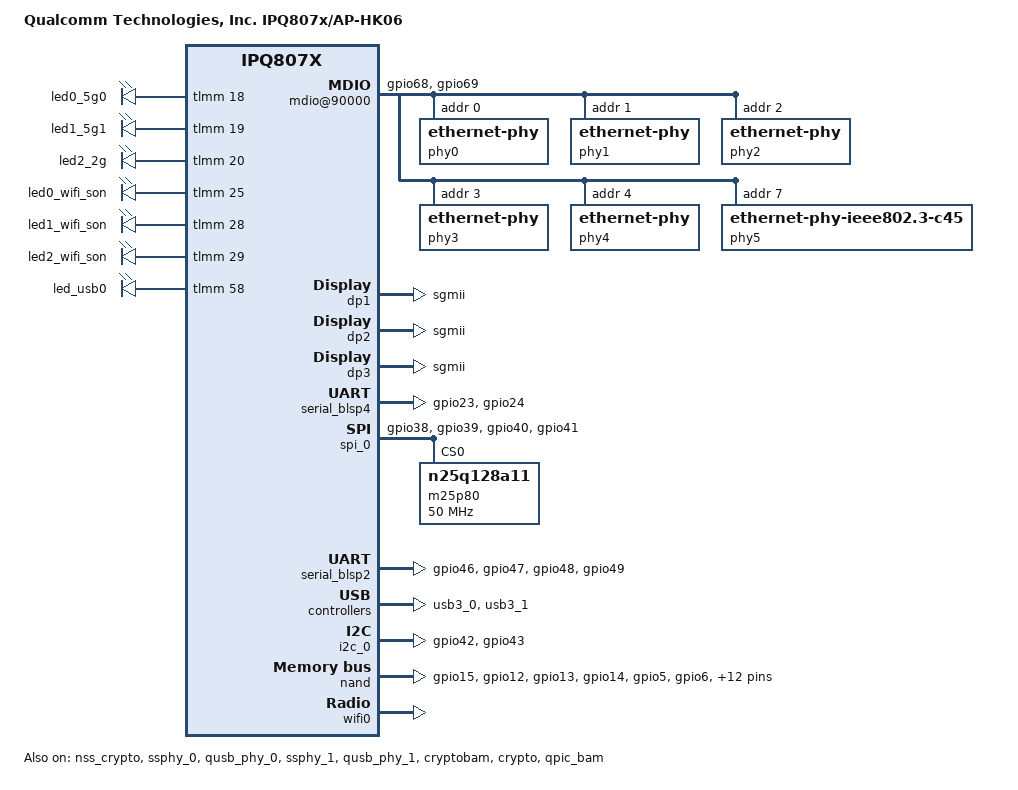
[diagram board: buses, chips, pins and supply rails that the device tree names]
/dts-v1/;
/*
 * Copyright (c) 2017, The Linux Foundation. All rights reserved.
 *
 * Permission to use, copy, modify, and/or distribute this software for any
 * purpose with or without fee is hereby granted, provided that the above
 * copyright notice and this permission notice appear in all copies.
 *
 * THE SOFTWARE IS PROVIDED "AS IS" AND THE AUTHOR DISCLAIMS ALL WARRANTIES
 * WITH REGARD TO THIS SOFTWARE INCLUDING ALL IMPLIED WARRANTIES OF
 * MERCHANTABILITY AND FITNESS. IN NO EVENT SHALL THE AUTHOR BE LIABLE FOR
 * ANY SPECIAL, DIRECT, INDIRECT, OR CONSEQUENTIAL DAMAGES OR ANY DAMAGES
 * WHATSOEVER RESULTING FROM LOSS OF USE, DATA OR PROFITS, WHETHER IN AN
 * ACTION OF CONTRACT, NEGLIGENCE OR OTHER TORTIOUS ACTION, ARISING OUT OF
 * OR IN CONNECTION WITH THE USE OR PERFORMANCE OF THIS SOFTWARE.
 */
#include "qcom-ipq807x-soc.dtsi"
#include "qcom-ipq807x-hk-cpu.dtsi"

/ {
	#address-cells = <0x2>;
	#size-cells = <0x2>;
	model = "Qualcomm Technologies, Inc. IPQ807x/AP-HK06";
	compatible = "qcom,ipq807x-hk06", "qcom,ipq807x";
	qcom,msm-id = <0x125 0x0>;
	interrupt-parent = <&intc>;
	qcom,board-id = <0x10 0x0>;

	aliases {
		/*
		 * Aliases as required by u-boot
		 * to patch MAC addresses
		 */
		ethernet0 = "/soc/dp1";
		ethernet1 = "/soc/dp2";
		ethernet2 = "/soc/dp3";
	};
	chosen {
		bootargs = "console=ttyMSM0,115200,n8 root=/dev/ram0 rw init=/init";
		bootargs-append = " swiotlb=1";
	};
};

&tlmm {
	mdio_pins: mdio_pinmux {
		mux_0 {
			pins = "gpio68";
			function = "mdc";
			drive-strength = <8>;
			bias-pull-up;
		};
		mux_1 {
			pins = "gpio69";
			function = "mdio";
			drive-strength = <8>;
			bias-pull-up;
		};
	};

	uart_pins: uart_pins {
		mux {
			pins = "gpio23", "gpio24";
			function = "blsp4_uart1";
			drive-strength = <8>;
			bias-disable;
		};
	};

	i2c_0_pins: i2c_0_pinmux {
		mux {
			pins = "gpio42", "gpio43";
			function = "blsp1_i2c";
			drive-strength = <8>;
			bias-disable;
		};
	};

	spi_0_pins: spi_0_pins {
		mux {
			pins = "gpio38", "gpio39", "gpio40", "gpio41";
			function = "blsp0_spi";
			drive-strength = <8>;
			bias-disable;
		};
	};

	qpic_pins: qpic_pins {
		data_0 {
			pins = "gpio15";
			function = "qpic_pad0";
			drive-strength = <8>;
			bias-disable;
		};
		data_1 {
			pins = "gpio12";
			function = "qpic_pad1";
			drive-strength = <8>;
			bias-disable;
		};
		data_2 {
			pins = "gpio13";
			function = "qpic_pad2";
			drive-strength = <8>;
			bias-disable;
		};
		data_3 {
			pins = "gpio14";
			function = "qpic_pad3";
			drive-strength = <8>;
			bias-disable;
		};
		data_4 {
			pins = "gpio5";
			function = "qpic_pad4";
			drive-strength = <8>;
			bias-disable;
		};
		data_5 {
			pins = "gpio6";
			function = "qpic_pad5";
			drive-strength = <8>;
			bias-disable;
		};
		data_6 {
			pins = "gpio7";
			function = "qpic_pad6";
			drive-strength = <8>;
			bias-disable;
		};
		data_7 {
			pins = "gpio8";
			function = "qpic_pad7";
			drive-strength = <8>;
			bias-disable;
		};
		data_8 {
			pins = "gpio16";
			function = "qpic_pad8";
			drive-strength = <8>;
			bias-disable;
		};
		qpic_pad {
			pins = "gpio0", "gpio1", "gpio2", "gpio3", "gpio4",
			       "gpio9", "gpio10", "gpio11", "gpio17";
			function = "qpic_pad";
			drive-strength = <8>;
			bias-disable;
		};
	};

	hsuart_pins: hsuart_pins {
		mux {
			pins = "gpio46", "gpio47", "gpio48", "gpio49";
			function = "blsp2_uart";
			drive-strength = <8>;
			bias-disable;
		};
	};

	uniphy_pins: uniphy_pinmux {
		mux {
			pins = "gpio60";
			function = "rx2";
			bias-disable;
		};
	};
	leds_pins: leds_pinmux {
		led0_5g0 {
			pins = "gpio18";
			function = "gpio";
			drive-strength = <8>;
			bias-pull-down;
		};
		led1_5g1 {
			pins = "gpio19";
			function = "gpio";
			drive-strength = <8>;
			bias-pull-down;
		};
		led2_2g {
			pins = "gpio20";
			function = "gpio";
			drive-strength = <8>;
			bias-pull-down;
		};
		led0_wifi_son {
			pins = "gpio25";
			function = "gpio";
			drive-strength = <8>;
			bias-pull-down;
		};
		led1_wifi_son {
			pins = "gpio28";
			function = "gpio";
			drive-strength = <8>;
			bias-pull-down;
		};
		led2_wifi_son {
			pins = "gpio29";
			function = "gpio";
			drive-strength = <8>;
			bias-pull-down;
		};
		led_usb0 {
			pins = "gpio58";
			function = "gpio";
			drive-strength = <8>;
			bias-pull-down;
		};
	};
};

&soc {
	mdio@90000 {
		#address-cells = <1>;
		#size-cells = <1>;
		compatible = "qcom,ipq40xx-mdio";
		reg = <0x90000 0x64>;
		pinctrl-0 = <&mdio_pins>;
		pinctrl-names = "default";
		phy-reset-gpio = <&tlmm 37 0 &tlmm 63 1>;
		phy0: ethernet-phy@0 {
			reg = <0>;
		};
		phy1: ethernet-phy@1 {
			reg = <1>;
		};
		phy2: ethernet-phy@2 {
			reg = <2>;
		};
		phy3: ethernet-phy@3 {
			reg = <3>;
		};
		phy4: ethernet-phy@4 {
			reg = <4>;
		};
		phy5: ethernet-phy@5 {
			compatible ="ethernet-phy-ieee802.3-c45";
			reg = <7>;
		};
	};

	ess-switch@3a000000 {
		pinctrl-0 = <&uniphy_pins>;
		pinctrl-names = "default";
		reg = <0x3a000000 0x1000000>;
		switch_access_mode = "local bus";
		switch_cpu_bmp = <0x1>;  /* cpu port bitmap */
		switch_lan_bmp = <0x3e>; /* lan port bitmap */
		switch_wan_bmp = <0x40>; /* wan port bitmap */
		switch_mac_mode = <0x0>; /* mac mode for uniphy instance0*/
		switch_mac_mode1 = <0xff>; /* mac mode for uniphy instance1*/
		switch_mac_mode2 = <0xd>; /* mac mode for uniphy instance2*/
		bm_tick_mode = <0>; /* bm tick mode */
		tm_tick_mode = <0>; /* tm tick mode */
		port_scheduler_resource {
			port@0 {
				port_id = <0>;
				ucast_queue = <0 143>;
				mcast_queue = <256 271>;
				l0sp = <0 35>;
				l0cdrr = <0 47>;
				l0edrr = <0 47>;
				l1cdrr = <0 7>;
				l1edrr = <0 7>;
			};
			port@1 {
				port_id = <1>;
				ucast_queue = <144 159>;
				mcast_queue = <272 275>;
				l0sp = <36 39>;
				l0cdrr = <48 63>;
				l0edrr = <48 63>;
				l1cdrr = <8 11>;
				l1edrr = <8 11>;
			};
			port@2 {
				port_id = <2>;
				ucast_queue = <160 175>;
				mcast_queue = <276 279>;
				l0sp = <40 43>;
				l0cdrr = <64 79>;
				l0edrr = <64 79>;
				l1cdrr = <12 15>;
				l1edrr = <12 15>;
			};
			port@3 {
				port_id = <3>;
				ucast_queue = <176 191>;
				mcast_queue = <280 283>;
				l0sp = <44 47>;
				l0cdrr = <80 95>;
				l0edrr = <80 95>;
				l1cdrr = <16 19>;
				l1edrr = <16 19>;
			};
			port@4 {
				port_id = <4>;
				ucast_queue = <192 207>;
				mcast_queue = <284 287>;
				l0sp = <48 51>;
				l0cdrr = <96 111>;
				l0edrr = <96 111>;
				l1cdrr = <20 23>;
				l1edrr = <20 23>;
			};
			port@5 {
				port_id = <5>;
				ucast_queue = <208 223>;
				mcast_queue = <288 291>;
				l0sp = <52 55>;
				l0cdrr = <112 127>;
				l0edrr = <112 127>;
				l1cdrr = <24 27>;
				l1edrr = <24 27>;
			};
			port@6 {
				port_id = <6>;
				ucast_queue = <224 239>;
				mcast_queue = <292 295>;
				l0sp = <56 59>;
				l0cdrr = <128 143>;
				l0edrr = <128 143>;
				l1cdrr = <28 31>;
				l1edrr = <28 31>;
			};
			port@7 {
				port_id = <7>;
				ucast_queue = <240 255>;
				mcast_queue = <296 299>;
				l0sp = <60 63>;
				l0cdrr = <144 159>;
				l0edrr = <144 159>;
				l1cdrr = <32 35>;
				l1edrr = <32 35>;
			};
		};
		port_scheduler_config {
			port@0 {
				port_id = <0>;
				l1scheduler {
					group@0 {
						sp = <0 1>; /*L0 SPs*/
						/*cpri cdrr epri edrr*/
						cfg = <0 0 0 0>;
					};
				};
				l0scheduler {
					group@0 {
						/*unicast queues*/
						ucast_queue = <0 4 8>;
						/*multicast queues*/
						mcast_queue = <256 260>;
						/*sp cpri cdrr epri edrr*/
						cfg = <0 0 0 0 0>;
					};
					group@1 {
						ucast_queue = <1 5 9>;
						mcast_queue = <257 261>;
						cfg = <0 1 1 1 1>;
					};
					group@2 {
						ucast_queue = <2 6 10>;
						mcast_queue = <258 262>;
						cfg = <0 2 2 2 2>;
					};
					group@3 {
						ucast_queue = <3 7 11>;
						mcast_queue = <259 263>;
						cfg = <0 3 3 3 3>;
					};
				};
			};
			port@1 {
				port_id = <1>;
				l1scheduler {
					group@0 {
						sp = <36>;
						cfg = <0 8 0 8>;
					};
				};
				l0scheduler {
					group@0 {
						ucast_queue = <144>;
						mcast_queue = <272>;
						cfg = <36 0 48 0 48>;
					};
				};
			};
			port@2 {
				port_id = <2>;
				l1scheduler {
					group@0 {
						sp = <40>;
						cfg = <0 12 0 12>;
					};
				};
				l0scheduler {
					group@0 {
						ucast_queue = <160>;
						mcast_queue = <276>;
						cfg = <40 0 64 0 64>;
					};
				};
			};
			port@3 {
				port_id = <3>;
				l1scheduler {
					group@0 {
						sp = <44>;
						cfg = <0 16 0 16>;
					};
				};
				l0scheduler {
					group@0 {
						ucast_queue = <176>;
						mcast_queue = <280>;
						cfg = <44 0 80 0 80>;
					};
				};
			};
			port@4 {
				port_id = <4>;
				l1scheduler {
					group@0 {
						sp = <48>;
						cfg = <0 20 0 20>;
					};
				};
				l0scheduler {
					group@0 {
						ucast_queue = <192>;
						mcast_queue = <284>;
						cfg = <48 0 96 0 96>;
					};
				};
			};
			port@5 {
				port_id = <5>;
				l1scheduler {
					group@0 {
						sp = <52>;
						cfg = <0 24 0 24>;
					};
				};
				l0scheduler {
					group@0 {
						ucast_queue = <208>;
						mcast_queue = <288>;
						cfg = <52 0 112 0 112>;
					};
				};
			};
			port@6 {
				port_id = <6>;
				l1scheduler {
					group@0 {
						sp = <56>;
						cfg = <0 28 0 28>;
					};
				};
				l0scheduler {
					group@0 {
						ucast_queue = <224>;
						mcast_queue = <292>;
						cfg = <56 0 128 0 128>;
					};
				};
			};
			port@7 {
				port_id = <7>;
				l1scheduler {
					group@0 {
						sp = <60>;
						cfg = <0 32 0 32>;
					};
				};
				l0scheduler {
					group@0 {
						ucast_queue = <240>;
						mcast_queue = <296>;
						cfg = <60 0 144 0 144>;
					};
				};
			};
		};
	};

	ess-uniphy@7a00000 {
		compatible = "qcom,ess-uniphy";
		reg = <0x7a00000 0x30000>;
		uniphy_access_mode = "local bus";
	};

	dp1 {
		device_type = "network";
		compatible = "qcom,nss-dp";
		qcom,id = <4>;
		reg = <0x3a001600 0x200>;
		qcom,mactype = <0>;
		local-mac-address = [000000000000];
		qcom,link-poll = <1>;
		qcom,phy-mdio-addr = <3>;
		phy-mode = "sgmii";
	};

	dp2 {
		device_type = "network";
		compatible = "qcom,nss-dp";
		qcom,id = <5>;
		reg = <0x3a001800 0x200>;
		qcom,mactype = <0>;
		local-mac-address = [000000000000];
		qcom,link-poll = <1>;
		qcom,phy-mdio-addr = <4>;
		phy-mode = "sgmii";
	};

	dp3 {
		device_type = "network";
		compatible = "qcom,nss-dp";
		qcom,id = <6>;
		reg = <0x3a007000 0x3fff>;
		qcom,mactype = <1>;
		local-mac-address = [000000000000];
		qcom,link-poll = <1>;
		qcom,phy-mdio-addr = <7>;
		phy-mode = "sgmii";
	};
	leds {
		compatible = "gpio-leds";
		pinctrl-0 = <&leds_pins>;
		pinctrl-names = "default";

		led@18 {
			label = "led0_5g0";
			gpios = <&tlmm 18 GPIO_ACTIVE_HIGH>;
			linux,default-trigger = "led_5g0";
			default-state = "off";
		};

		led@19 {
			label = "led1_5g1";
			gpios = <&tlmm 19 GPIO_ACTIVE_HIGH>;
			linux,default-trigger = "led_5g1";
			default-state = "off";
		};

		led@20 {
			label = "led2_2g";
			gpios = <&tlmm 20 GPIO_ACTIVE_HIGH>;
			linux,default-trigger = "led_2g";
			default-state = "off";
		};

		led@25 {
			label = "led0_wifi_son";
			gpios = <&tlmm 25 GPIO_ACTIVE_HIGH>;
			linux,default-trigger = "led_wifi_son_0";
			default-state = "off";
		};

		led@28 {
			label = "led1_wifi_son";
			gpios = <&tlmm 28 GPIO_ACTIVE_HIGH>;
			linux,default-trigger = "led_wifi_son_1";
			default-state = "off";
		};

		led@29 {
			label = "led2_wifi_son";
			gpios = <&tlmm 29 GPIO_ACTIVE_HIGH>;
			linux,default-trigger = "led_wifi_son_2";
			default-state = "off";
		};

		led@58 {
			label = "led_usb0";
			gpios = <&tlmm 58 GPIO_ACTIVE_HIGH>;
			linux,default-trigger = "led_usb";
			default-state = "off";
		};

	};
};

&serial_blsp4 {
       pinctrl-0 = <&uart_pins>;
       pinctrl-names = "default";
       status = "ok";
};

&spi_0 { /* BLSP1 QUP1 */
	pinctrl-0 = <&spi_0_pins>;
	pinctrl-names = "default";
	cs-select = <0>;
	status = "ok";

	m25p80@0 {
		#address-cells = <1>;
		#size-cells = <1>;
		reg = <0>;
		compatible = "n25q128a11";
		linux,modalias = "m25p80", "n25q128a11";
		spi-max-frequency = <50000000>;
		use-default-sizes;
	};
};

&serial_blsp2 {
	pinctrl-0 = <&hsuart_pins>;
	pinctrl-names = "default";
	status = "ok";
};

&nss_crypto {
	status = "ok";
};

&msm_imem {
	status = "disabled";
};

&ssphy_0 {
	qcom,emulation = <1>;
	status = "ok";
};

&qusb_phy_0 {
	qcom,emulation = <1>;
	status = "ok";
};

&ssphy_1 {
	qcom,emulation = <1>;
	status = "ok";
};

&qusb_phy_1 {
	qcom,emulation = <1>;
	status = "ok";
};

&usb3_0 {
	status = "ok";
};

&usb3_1 {
	status = "ok";
};

&cryptobam {
	status = "ok";
};

&crypto {
	status = "ok";
};

&i2c_0 {
	pinctrl-0 = <&i2c_0_pins>;
	pinctrl-names = "default";
	status = "ok";
};

&i2c_1 {
	status = "disabled";
};

&qpic_bam {
	status = "ok";
};

&nand {
	pinctrl-0 = <&qpic_pins>;
	pinctrl-names = "default";
	status = "ok";
};

&wifi0 {
	qcom,hw-mode-id = <5>;
};
